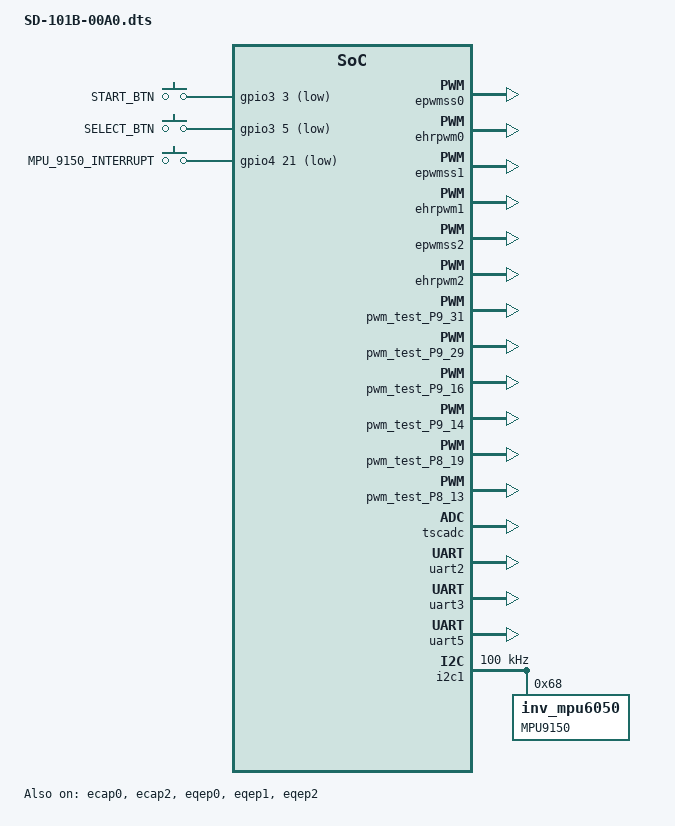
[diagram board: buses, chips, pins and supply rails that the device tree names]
/*
 * Device Tree Overlay for Robotics Cape SD-101B
 * Strawson Design 2013
 *
 */
 
/dts-v1/;
/plugin/; 

/ {
    compatible = "ti,beaglebone-black";

    /* identification */
    part-number = "SD-101B";

    /* version */
    version = "00A0";
	
	exclusive-use =
		"P9.31",  /*PWM0A Motor 1*/
		"P9.29",  /*PWM0B Motor 2*/
		"P9.14",  /*PWM1A Motor 3*/
		"P9.16",  /*PWM1B Motor 4*/
		"P8.19",  /*PWM2A Motor 5*/
		"P8.13",  /*PWM2B Motor 6*/
		"ehrpwm0A",
		"ehrpwm0B", 
		"ehrpwm1A",
		"ehrpwm1B",
		"ehrpwm2A", 
		"ehrpwm2B", 		

		"eqep0", /* Encoders */
		"eqep1", 
		"eqep2", 
		
		"P9.35", /* AIN6 */
		"tscadc",
		
		"P9.24",	/* uart1_txd */
		"P9.26",	/* uart1_rxd */
		"uart1",
		"P9.21",	/* uart2_txd */
		"P9.22",	/* uart2_rxd */
		"uart2",
		"P9.13",	/* uart4_txd */
		"P9.11",	/* uart4_rxd */
		"uart4",
		
		"P9.18",	/* i2c1_sda */
		"P9.17",	/* i2c1_scl */
		"i2c1",
		
		"P8.8",		/*START_BTN*/
		"P8.9",		/*SELECT_BTN*/
		"P9.25",	/*MPU-9150 INTERRUPT*/
		
		"P8.7",		/*MDIR6B*/
		"P8.10",	/*MDIR6A */
		"P8.14",	/*MDIR5A */
		"P8.15",	/*GRN LED*/
		"P8.16",	/*RED LED*/
		"P8.17",	/*mDIR4B*/
		"P8.18",	/*mDIR4A*/
		"P8.26",	/*mDIR2B*/
		"P9.12",	/*mDIR5B*/
		"P9.15",	/*MDIR3B*/
		"P9.23",	/*MDIR3A */
		"P9.28",	/*MDIR2A*/
		"P9.30",	/*mDIR1B*/
		"P9.41";	/*mDIR1A*/
		
		
	
    fragment@0 {
		target = <&am33xx_pinmux>;
		__overlay__ {
			pwm_P9_31: pinmux_pwm_P9_31_pins {
				pinctrl-single,pins = <0x190  0x1>; /* P9_31 (ZCZ ball A13) | MODE 1 */
			};
			pwm_P9_29: pinmux_pwm_P9_29_pins {
				pinctrl-single,pins = <0x194  0x1>; /* P9_29 (ZCZ ball B13) | MODE 1 */
			};
			pwm_P9_14: pinmux_pwm_P9_14_pins {
				pinctrl-single,pins = <0x048  0x6>; /* P9_14 (ZCZ ball U14) | MODE 6 */
			};
			pwm_P9_16: pinmux_pwm_P9_16_pins {
				pinctrl-single,pins = <0x04c  0x6>; /* P9_16 (ZCZ ball T14) | MODE 6 */
			};
			pwm_P8_19: pinmux_pwm_P8_19_pins {
				pinctrl-single,pins = <0x020  0x4>; /* P8_19 (ZCZ ball U10) | MODE 4 */
			};
			pwm_P8_13: pinmux_pwm_P8_13_pins {
				pinctrl-single,pins = <0x024  0x4>; /* P8_13 (ZCZ ball T10) | MODE 4 */
			};

			pinctrl_eqep0: pinctrl_eqep0_pins {
        		pinctrl-single,pins = < 
                        0x1A0 0x31  /* P9_42 = GPIO3_18 = EQEP0A_in, MODE1 */       
                        0x1A4 0x31  /* P9_27 = GPIO3_19 = EQEP0B_in, MODE1 */       
        		>;
        	};
			pinctrl_eqep1: pinctrl_eqep1_pins {
                pinctrl-single,pins = <					 				   
                        0x0D4 0x32  /* P8_33 = GPIO0_9 = EQEP1B_in, MODE2 */
                        0x0D0 0x32  /* P8_35 = GPIO0_8 = EQEP1A_in, MODE2 */
                >;
            };	
			pinctrl_eqep2: pinctrl_eqep2_pins {
                pinctrl-single,pins = <					 				   
                        0x030 0x3C  /* P8_12 = EQEP2A_in, MODE4 */
                        0x034 0x3C  /* P8_11 = EQEP2B_in, MODE4 */
                >;
            };
			
			bb_uart1_pins: pinmux_bb_uart1_pins {
				pinctrl-single,pins = <
					0x184 0x20 /* P9.24 uart1_txd.uart1_txd  OUTPUT  */
					0x180 0x20 /* P9.26 uart1_rxd.uart1_rxd  INPUT  */
				>;
			};
			bb_uart2_pins: pinmux_bb_uart2_pins {
				pinctrl-single,pins = <
					0x150 0x21	/* spi0_sclk.uart2_rxd | MODE1 */
					0x154 0x01	/* spi0_d0.uart2_txd | MODE1 */
				>;
			};
			bb_uart4_pins: pinmux_bb_uart4_pins {
				pinctrl-single,pins = <
					0x070 0x26	/* gpmc_wait0.uart4_rxd | MODE6 */
					0x074 0x06	/* gpmc_wpn.uart4_txd | MODE6 */
				>;
			};
			
			bb_i2c1_pins: pinmux_bb_i2c1_pins {
				pinctrl-single,pins = <
					0x158 0x72	/* spi0_d1.i2c1_sda, SLEWCTRL_SLOW | INPUT_PULLUP | MODE2 */
					0x15c 0x72	/* spi0_cs0.i2c1_scl, SLEWCTRL_SLOW | INPUT_PULLUP | MODE2 */
				>;
			};
		};
		
		interrupt_pins: pinmux_interrupt_pins{
                pinctrl-single,pins = <
					0x094 0x37 	/*P8.8 START BUTTON IN*/
					0x09c 0x37	/*P8.9 SELECT BUTTON IN*/
					0x1AC 0x37	/*P9.25 MPU-9150 INTERRUPT IN*/
					
                >;
		};
		
		gpio_helper_pins: pinmux_gpio_helper_pins {
				pinctrl-single,pins = <
						0x090 0x0F	/*P8.7 MODE7 | OUTPUT*/
						0x098 0x0F	/*P8.10*/
						0x028 0x0F	/*P8.14*/
						0x03C 0x0F	/*P8.15*/
						0x038 0x0F	/*P8.16*/
						0x02C 0x0F	/*P8.17*/
						0x08C 0x0F	/*P8.18*/
						0x07C 0x0F	/*P8.26*/
						0x078 0x0F	/*P9.12*/
						0x048 0x0F	/*P9.15*/
						0x044 0x0F	/*P9.23 */
						0x19C 0x0F	/*P9.28*/
						0x198 0x0F	/*P9.30*/
						0x1B4 0x0F	/*P9.41*/
				>;
		};
		
		
	};


	
	fragment@1 {
		target = <&epwmss0>;
		__overlay__ {
			status = "okay";
		};
	};

	fragment@2 {
		target = <&ehrpwm0>;
		__overlay__ {
			status = "okay";
		};
	};

	fragment@3 {
		target = <&ecap0>;
		__overlay__ {
			status = "okay";
		};
	};

	fragment@4 {
		target = <&epwmss1>;
		__overlay__ {
			status = "okay";
		};
	};

	fragment@5 {
		target = <&ehrpwm1>;
		__overlay__ {
			status = "okay";
		};
	};

	fragment@6 {
		target = <&epwmss2>;
		__overlay__ {
			status = "okay";
		};
	};

	fragment@7 {
		target = <&ehrpwm2>;
		__overlay__ {
			status = "okay";
		};
	};

	fragment@8 {
		target = <&ecap2>;
		__overlay__ {
			status = "okay";
		};
	};
	
	
	fragment@9 {
		target = <&ocp>;
		__overlay__ {
			pwm_test_P9_31 {
				compatible	= "pwm_test";
				pwms 		= <&ehrpwm0 0 0 1>;
				pwm-names 	= "PWM_P9_31";
			    pinctrl-names	= "default";
			    pinctrl-0	= <&pwm_P9_31>;
				enabled		= <0>;
				duty		= <0>;
				status 		= "okay";
			};
		};
	};
	
	fragment@10 {
		target = <&ocp>;
		__overlay__ {
			pwm_test_P9_29 {
				compatible	= "pwm_test";
				pwms 		= <&ehrpwm0 1 0 1>;
				pwm-names 	= "PWM_P9_29";
			    pinctrl-names	= "default";
			    pinctrl-0	= <&pwm_P9_29>;
				enabled		= <0>;
				duty		= <0>;
				status 		= "okay";
			};
		};
	};
	fragment@11 {
		target = <&ocp>;
		__overlay__ {
			pwm_test_P9_16 {
				compatible	= "pwm_test";
				pwms 		= <&ehrpwm1 1 0 1>;
				pwm-names 	= "PWM_P9_16";
			    pinctrl-names	= "default";
			    pinctrl-0	= <&pwm_P9_16>;
				enabled		= <0>;
				duty		= <0>;
				status 		= "okay";
			};
		};
	};
	fragment@12 {
		target = <&ocp>;
		__overlay__ {
			pwm_test_P9_14 {
				compatible	= "pwm_test";
				pwms 		= <&ehrpwm1 0 0 1>;
				pwm-names 	= "PWM_P9_14";
			    pinctrl-names	= "default";
			    pinctrl-0	= <&pwm_P9_14>;
				enabled		= <0>;
				duty		= <0>;
				status 		= "okay";
			};
		};
	};
	
	fragment@13 {
		target = <&ocp>;
		__overlay__ {
			pwm_test_P8_19 {
				compatible	= "pwm_test";
				pwms 		= <&ehrpwm2 0 0 1>;
				pwm-names 	= "PWM_P8_19";

				pinctrl-names	= "default";
				pinctrl-0	= <&pwm_P8_19>;

				enabled		= <0>;
				duty		= <0>;
				status 		= "okay";
			};
		};
	};
	
	fragment@14 {
		target = <&ocp>;
		__overlay__ {
			pwm_test_P8_13 {
				compatible	= "pwm_test";
				pwms 		= <&ehrpwm2 1 0 1>;
				pwm-names 	= "PWM_P8_13";

				pinctrl-names	= "default";
				pinctrl-0	= <&pwm_P8_13>;

				enabled		= <0>;
				duty		= <0>;
				status 		= "okay";
			};
		};
	};
	

	
	fragment@15 {
    	target = <&eqep0>;
    	__overlay__ {
            pinctrl-names = "default";
            pinctrl-0 = <&pinctrl_eqep0>;
            
            count_mode = <0>;  /* 0 - Quadrature mode, normal 90 phase offset cha & chb.  1 - Direction mode.  cha input = clock, chb input = direction */
            swap_inputs = <0>; /* Are channel A and channel B swapped? (0 - no, 1 - yes) */
            invert_qa = <1>;   /* Should we invert the channel A input?  */
            invert_qb = <1>;   /* Should we invert the channel B input? I invert these because my encoder outputs drive transistors that pull down the pins */
            invert_qi = <0>;   /* Should we invert the index input? */
            invert_qs = <0>;   /* Should we invert the strobe input? */
            
	        status = "okay";
    	};
    };
	

    
    fragment@16 {
    	target = <&eqep1>;
    	__overlay__ {
            pinctrl-names = "default";
            pinctrl-0 = <&pinctrl_eqep1>;
            
            count_mode = <0>;  /* 0 - Quadrature mode, normal 90 phase offset cha & chb.  1 - Direction mode.  cha input = clock, chb input = direction */
            swap_inputs = <0>; /* Are channel A and channel B swapped? (0 - no, 1 - yes) */
            invert_qa = <1>;   /* Should we invert the channel A input?  */
            invert_qb = <1>;   /* Should we invert the channel B input? I invert these because my encoder outputs drive transistors that pull down the pins */
            invert_qi = <0>;   /* Should we invert the index input? */
            invert_qs = <0>;   /* Should we invert the strobe input? */
            
	        status = "okay";
    	};
    };

    fragment@17 {
    	target = <&eqep2>;
    	__overlay__ {
            pinctrl-names = "default";
            pinctrl-0 = <&pinctrl_eqep2>;
            
            count_mode = <0>;  /* 0 - Quadrature mode, normal 90 phase offset cha & chb.  1 - Direction mode.  cha input = clock, chb input = direction */
            swap_inputs = <0>; /* Are channel A and channel B swapped? (0 - no, 1 - yes) */
            invert_qa = <1>;   /* Should we invert the channel A input?  */
            invert_qb = <1>;   /* Should we invert the channel B input? I invert these because my encoder outputs drive transistors that pull down the pins */
            invert_qi = <0>;   /* Should we invert the index input? */
            invert_qs = <0>;   /* Should we invert the strobe input? */
            
	        status = "okay";
    	};
    };
	
	fragment@18 {
		target = <&ocp>;
		__overlay__ {
			/* avoid stupid warning */
			#address-cells = <1>;
			#size-cells = <1>;

			tscadc {
				compatible = "ti,ti-tscadc";
				reg = <0x44e0d000 0x1000>;

				interrupt-parent = <&intc>;
				interrupts = <16>;
				ti,hwmods = "adc_tsc";
				status = "okay";

				adc {
					ti,adc-channels = <0 1 2 3 4 5 6 7>;
				};
			};

			test_helper: helper {
				compatible = "bone-iio-helper";
				vsense-name  = "AIN0", "AIN1", "AIN2", "AIN3", "AIN4", "AIN5", "AIN6", "AIN7";
				vsense-scale = <100     100     100     100     100     100     100     100>;
				status = "okay";
			};
		};
	};
	
	fragment@19 {
		target = <&uart2>;	/* really uart1 */
		__overlay__ {
			status = "okay";
			pinctrl-names = "default";
			pinctrl-0 = <&bb_uart1_pins>;
		};
	};
	fragment@20 {
		target = <&uart3>;	/* really uart2 */
		__overlay__ {
			status = "okay";
			pinctrl-names = "default";
			pinctrl-0 = <&bb_uart2_pins>;
		};
	};
	
	fragment@21 {
		target = <&uart5>;	/* really uart4 */
		__overlay__ {
			status = "okay";
			pinctrl-names = "default";
			pinctrl-0 = <&bb_uart4_pins>;
		};
	};
	
	fragment@22 {
		target = <&i2c1>;	/* i2c1 is numbered correctly */
		__overlay__ {
			status = "okay";
			pinctrl-names = "default";
			pinctrl-0 = <&bb_i2c1_pins>;

			/* this is the configuration part */
			clock-frequency = <100000>;	

			#address-cells = <1>;
			#size-cells = <0>;

			/* add any i2c devices on the bus here */

			
			 MPU9150@68 {
				compatible = "inv_mpu6050";
				reg = <0x68>;
			 };
		};
	};
	
	fragment@23 {
        target = <&ocp>;
        __overlay__ {            
            #address-cells = <1>;
            #size-cells = <1>;                            

            gpio_keys {
                compatible = "gpio-keys";
                pinctrl-names = "default";
                pinctrl-0 = <&interrupt_pins>;
                #address-cells = <1>;
                #size-cells = <0>;

                switch_x1 {
                    label = "START_BTN";
                    debounce_interval = <50>;
                    linux,code = <1>;
                    gpios = <&gpio3 3 0x5>; /* really gpio_2[3] */
                    gpio-key,wakeup;
                };                
                switch_x2 {
                    label = "SELECT_BTN";
                    debounce_interval = <50>;
                    linux,code = <2>;
                    gpios = <&gpio3 5 0x5>; /*really gpio_2[5]*/
                    gpio-key,wakeup;
                };
                switch_y1 {
                    label = "MPU_9150_INTERRUPT";
                    debounce_interval = <50>;
                    linux,code = <3>;
                    gpios = <&gpio4 21 0x5>; /*really gpio_3[21]*/
                    gpio-key,wakeup;
                };        
            };
        };
    };
	
};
